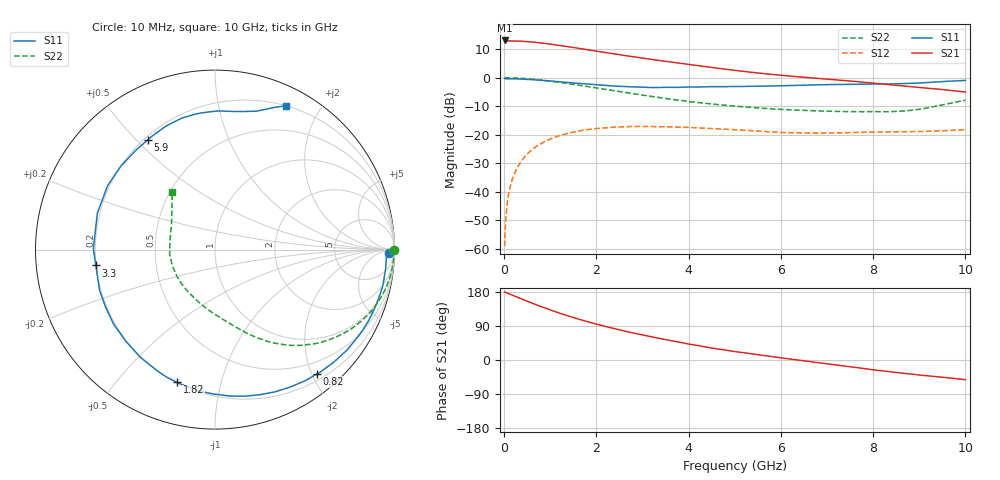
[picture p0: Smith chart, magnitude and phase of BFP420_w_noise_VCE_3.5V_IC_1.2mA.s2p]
! Infineon Technologies  Discrete & RF Semiconductors
! BFP420
! VCE =  3.5 V,  IC =  1.2 mA
! Common Emitter S-Parameters:  Jan 2016
# GHz  S  MA  R  50
!  f  S11  S21  S12  S22
! GHz  MAG  ANG  MAG  ANG  MAG  ANG  MAG  ANG
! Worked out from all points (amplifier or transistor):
!   233 points, 10 MHz to 10 GHz, reference 50 ohm
!   highest |S21| = 13.1 dB at 10 MHz (marker M1)
!   |S21| within 3 dB of that: start of sweep to 1.712 GHz
!   unconditionally stable (mu >= 1): 4.233 GHz to end of sweep
!   at 200 MHz: K = 0.02, MSG = 23.8 dB, |S12| = -34.7 dB
!   at 1.74 GHz: K = 0.29, MSG = 14.2 dB, |S12| = -18.4 dB
!   at 10 GHz: K = 1.31, MAG = 3.2 dB, |S12| = -18.2 dB
!   lowest NFmin = 0.53 dB at 900 MHz
!   S11 on the Smith chart (normalised r, x): 10 MHz: 44, -28; 820 MHz: 0.30, -2.08; 1.82 GHz: 0.20, -0.73; 3.3 GHz: 0.20, -0.06; 5.9 GHz: 0.21, +0.54; 10 GHz: 0.20, +1.59
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0.01  0.9681 -1.2  4.5 179.2  0.0011 94.5  0.9966 0.0
0.02  0.9569 -1.2  4.358 179.3  0.0019 80.8  0.9965 -0.6
0.03  0.9564 -1.8  4.368 178.7  0.0028 83.8  0.9965 -0.9
0.07  0.9558 -4.3  4.398 176.5  0.0065 85.9  0.9964 -2.3
0.19  0.9559 -11.7  4.41 170.6  0.0176 82.7  0.992 -6.4
0.45  0.9386 -28.0  4.324 157.7  0.0412 73.4  0.9682 -14.8
0.64  0.9181 -39.7  4.2 148.4  0.0572 66.4  0.9393 -20.8
0.82  0.8963 -50.6  4.047 140.0  0.0711 60.2  0.9067 -26.1
1  0.8732 -61.3  3.884 132.1  0.0838 54.2  0.8707 -31.2
1.2  0.8461 -72.9  3.683 123.6  0.096 47.9  0.8274 -36.4
1.68  0.7849 -99.0  3.216 105.5  0.1181 34.2  0.7247 -47.3
1.82  0.7689 -106.0  3.079 100.7  0.1227 30.6  0.6964 -50.1
2.2  0.7301 -124.7  2.761 88.4  0.1323 21.7  0.6233 -57.0
2.6  0.7013 -143.6  2.463 76.6  0.1378 13.1  0.5536 -63.6
3.3  0.6697 -172.4  2.033 58.9  0.1379 1.1  0.4551 -73.9
3.4  0.6721 -176.4  1.983 56.3  0.1376 -0.4  0.4427 -75.5
4  0.6861 162.8  1.715 42.1  0.1338 -8.1  0.3815 -85.4
5.1  0.7007 136.4  1.314 20.7  0.1205 -17.3  0.3121 -105.3
5.9  0.7175 121.5  1.121 7.4  0.1103 -19.6  0.2801 -121.1
6.8  0.7475 107.4  0.97 -6.9  0.1063 -18.9  0.2606 -141.1
8.4  0.7769 82.1  0.745 -31.5  0.1117 -19.9  0.2536 172.6
10  0.8938 63.6  0.559 -51.8  0.1224 -20.4  0.4022 126.5
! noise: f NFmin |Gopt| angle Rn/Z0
0.9  0.53  0.62  33  0.31
1.8  1.1  0.4  77  0.24
2.4  1.23  0.41  100  0.2
3  1.51  0.41  132  0.14
4  1.8  0.44  -175  0.09
5  2.23  0.45  -132  0.38
6  3.18  0.57  -116  0.44
